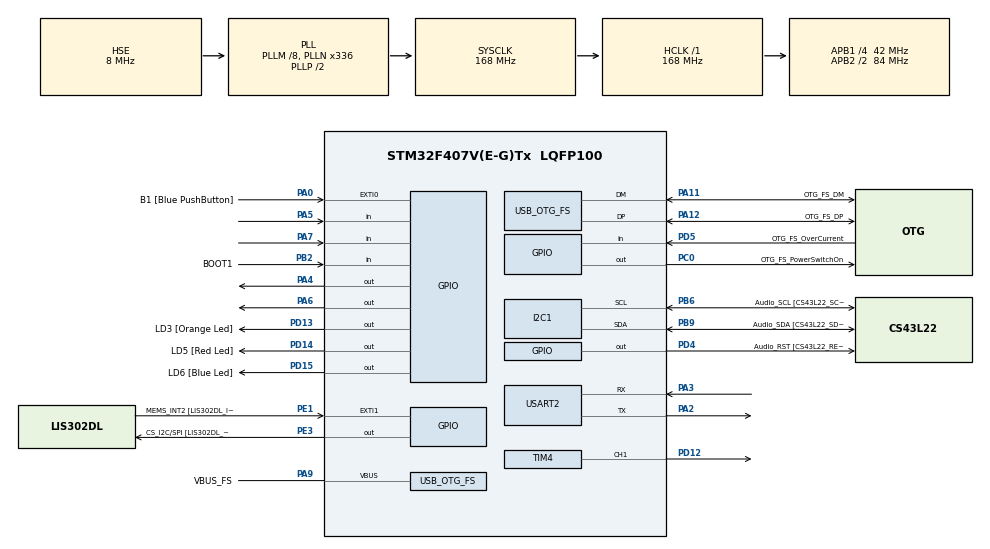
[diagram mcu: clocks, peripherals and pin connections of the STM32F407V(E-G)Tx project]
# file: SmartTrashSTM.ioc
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Mcu.Family=STM32F4
Mcu.Name=STM32F407V(E-G)Tx
Mcu.Package=LQFP100
NVIC.OTG_FS_IRQn=true\:0\:0\:false\:false\:true\:true\:true
NVIC.PriorityGroup=NVIC_PRIORITYGROUP_0
PA0-WKUP.GPIO_Label=B1 [Blue PushButton]
PA0-WKUP.GPIO_ModeDefaultEXTI=GPIO_MODE_EVT_RISING
PA0-WKUP.GPIO_PuPd=GPIO_NOPULL
PA0-WKUP.Signal=GPXTI0
PA10.GPIO_Label=OTG_FS_ID
PA10.GPIO_Mode=GPIO_MODE_AF_PP
PA10.GPIO_PuPd=GPIO_NOPULL
PA10.GPIO_Speed=GPIO_SPEED_FREQ_LOW
PA10.Signal=USB_OTG_FS_ID
PA11.GPIO_Label=OTG_FS_DM
PA11.GPIO_Mode=GPIO_MODE_AF_PP
PA11.GPIO_PuPd=GPIO_NOPULL
PA11.GPIO_Speed=GPIO_SPEED_FREQ_LOW
PA11.Mode=Host_Only
PA11.Signal=USB_OTG_FS_DM
PA12.GPIO_Label=OTG_FS_DP
PA12.GPIO_Mode=GPIO_MODE_AF_PP
PA12.GPIO_PuPd=GPIO_NOPULL
PA12.GPIO_Speed=GPIO_SPEED_FREQ_LOW
PA12.Mode=Host_Only
PA12.Signal=USB_OTG_FS_DP
PA13.GPIO_Label=SWDIO
PA13.Mode=Serial_Wire
PA13.Signal=SYS_JTMS-SWDIO
PA14.GPIO_Label=SWCLK
PA14.Mode=Serial_Wire
PA14.Signal=SYS_JTCK-SWCLK
PA2.Mode=Asynchronous
PA2.Signal=USART2_TX
PA3.Mode=Asynchronous
PA3.Signal=USART2_RX
PA4.Signal=GPIO_Output
PA5.Signal=GPIO_Input
PA6.Signal=GPIO_Output
PA7.Signal=GPIO_Input
PA9.GPIO_Label=VBUS_FS
PA9.GPIO_Mode=GPIO_MODE_INPUT
PA9.GPIO_PuPd=GPIO_NOPULL
PA9.Mode=Activate_VBUS
PA9.Signal=USB_OTG_FS_VBUS
PB10.GPIO_Label=CLK_IN [MP45DT02_CLK]
PB10.GPIO_Mode=GPIO_MODE_AF_PP
PB10.GPIO_PuPd=GPIO_NOPULL
PB10.GPIO_Speed=GPIO_SPEED_FREQ_LOW
PB10.Signal=I2S2_CK
PB2.GPIO_Label=BOOT1
PB2.GPIO_Mode=GPIO_MODE_INPUT
PB2.GPIO_PuPd=GPIO_NOPULL
PB2.Signal=GPIO_Input
PB3.GPIO_Label=SWO
PB3.Signal=SYS_JTDO-SWO
PB6.GPIO_Label=Audio_SCL [CS43L22_SCL]
PB6.GPIO_Mode=GPIO_MODE_AF_OD
PB6.GPIO_PuPd=GPIO_NOPULL
PB6.GPIO_Speed=GPIO_SPEED_FREQ_LOW
PB6.Mode=I2C
PB6.Signal=I2C1_SCL
PB9.GPIO_Label=Audio_SDA [CS43L22_SDA]
PB9.GPIO_Mode=GPIO_MODE_AF_OD
PB9.GPIO_PuPd=GPIO_NOPULL
PB9.GPIO_Speed=GPIO_SPEED_FREQ_LOW
PB9.Mode=I2C
PB9.Signal=I2C1_SDA
PC0.GPIO_Label=OTG_FS_PowerSwitchOn
PC0.GPIO_PuPd=GPIO_NOPULL
PC0.GPIO_Speed=GPIO_SPEED_FREQ_LOW
PC0.PinState=GPIO_PIN_SET
PC0.Signal=GPIO_Output
PC10.GPIO_Label=I2S3_SCK [CS43L22_SCLK]
PC10.GPIO_Mode=GPIO_MODE_AF_PP
PC10.GPIO_PuPd=GPIO_NOPULL
PC10.GPIO_Speed=GPIO_SPEED_FREQ_LOW
PC10.Signal=I2S3_CK
PC12.GPIO_Label=I2S3_SD [CS43L22_SDIN]
PC12.GPIO_Mode=GPIO_MODE_AF_PP
PC12.GPIO_PuPd=GPIO_NOPULL
PC12.GPIO_Speed=GPIO_SPEED_FREQ_LOW
PC12.Signal=I2S3_SD
PC14-OSC32_IN.GPIO_Label=PC14-OSC32_IN
PC14-OSC32_IN.Mode=LSE-External-Oscillator
PC14-OSC32_IN.Signal=RCC_OSC32_IN
PC15-OSC32_OUT.GPIO_Label=PC15-OSC32_OUT
PC15-OSC32_OUT.Mode=LSE-External-Oscillator
PC15-OSC32_OUT.Signal=RCC_OSC32_OUT
PC3.GPIO_Label=PDM_OUT [MP45DT02_DOUT]
PC3.GPIO_Mode=GPIO_MODE_AF_PP
PC3.GPIO_PuPd=GPIO_NOPULL
PC3.GPIO_Speed=GPIO_SPEED_FREQ_LOW
PC3.Signal=I2S2_SD
PC7.GPIO_Label=I2S3_MCK [CS43L22_MCLK]
PC7.GPIO_Mode=GPIO_MODE_AF_PP
PC7.GPIO_PuPd=GPIO_NOPULL
PC7.GPIO_Speed=GPIO_SPEED_FREQ_LOW
PC7.Signal=I2S3_MCK
PD12.Signal=S_TIM4_CH1
PD13.GPIO_Label=LD3 [Orange Led]
PD13.GPIO_PuPd=GPIO_NOPULL
PD13.GPIO_Speed=GPIO_SPEED_FREQ_LOW
PD13.Signal=GPIO_Output
PD14.GPIO_Label=LD5 [Red Led]
PD14.GPIO_PuPd=GPIO_NOPULL
PD14.GPIO_Speed=GPIO_SPEED_FREQ_LOW
PD14.Signal=GPIO_Output
PD15.GPIO_Label=LD6 [Blue Led]
PD15.GPIO_PuPd=GPIO_NOPULL
PD15.GPIO_Speed=GPIO_SPEED_FREQ_LOW
PD15.Signal=GPIO_Output
PD4.GPIO_Label=Audio_RST [CS43L22_RESET]
PD4.GPIO_PuPd=GPIO_NOPULL
PD4.GPIO_Speed=GPIO_SPEED_FREQ_LOW
PD4.Signal=GPIO_Output
PD5.GPIO_Label=OTG_FS_OverCurrent
PD5.GPIO_Mode=GPIO_MODE_INPUT
PD5.GPIO_PuPd=GPIO_NOPULL
PD5.Signal=GPIO_Input
PE1.GPIO_Label=MEMS_INT2 [LIS302DL_INT2]
PE1.GPIO_ModeDefaultEXTI=GPIO_MODE_EVT_RISING
PE1.GPIO_PuPd=GPIO_NOPULL
PE1.Signal=GPXTI1
PE3.GPIO_Label=CS_I2C/SPI [LIS302DL_CS_I2C/SPI]
PE3.GPIO_PuPd=GPIO_NOPULL
PE3.GPIO_Speed=GPIO_SPEED_FREQ_LOW
PE3.Signal=GPIO_Output
PH0-OSC_IN.GPIO_Label=PH0-OSC_IN
PH0-OSC_IN.Mode=HSE-External-Oscillator
PH0-OSC_IN.Signal=RCC_OSC_IN
PH1-OSC_OUT.GPIO_Label=PH1-OSC_OUT
PH1-OSC_OUT.Mode=HSE-External-Oscillator
PH1-OSC_OUT.Signal=RCC_OSC_OUT
ProjectManager.HeapSize=0x200
ProjectManager.StackSize=0x400
ProjectManager.TargetToolchain=STM32CubeIDE
RCC.48MHZClocksFreq_Value=48000000
RCC.AHBFreq_Value=168000000
RCC.APB1CLKDivider=RCC_HCLK_DIV4
RCC.APB1Freq_Value=42000000
RCC.APB1TimFreq_Value=84000000
RCC.APB2CLKDivider=RCC_HCLK_DIV2
RCC.APB2Freq_Value=84000000
RCC.APB2TimFreq_Value=168000000
RCC.CortexFreq_Value=168000000
RCC.HCLKFreq_Value=168000000
RCC.HSE_VALUE=8000000
RCC.HSI_VALUE=16000000
RCC.PLLM=8
RCC.PLLN=336
RCC.PLLQ=7
RCC.SYSCLKFreq_VALUE=168000000
RCC.SYSCLKSource=RCC_SYSCLKSOURCE_PLLCLK
RCC.VCOOutputFreq_Value=336000000
SH.S_TIM4_CH1.0=TIM4_CH1,PWM Generation1 CH1
TIM1.Period=10000
TIM1.Prescaler=83
TIM4.Channel-PWM\ Generation1\ CH1=TIM_CHANNEL_1
TIM4.Period=20000
TIM4.Prescaler=83
TIM4.Pulse-PWM\ Generation1\ CH1=1000
USART2.VirtualMode=VM_ASYNC
USB_HOST.BSP.number=1
USB_HOST.USBH_HandleTypeDef-CDC_FS=hUsbHostFS
USB_HOST.VirtualModeFS=Cdc
USB_HOST0.BSP.STBoard=false
USB_HOST0.BSP.api=Unknown
USB_HOST0.BSP.i2caddr=0
USB_HOST0.BSP.i2creg=0
USB_HOST0.BSP.instance=PC0
USB_HOST0.BSP.ip=GPIO
USB_HOST0.BSP.mode=Output
USB_HOST0.BSP.name=Drive_VBUS_FS
USB_HOST0.BSP.solution=PC0
USB_OTG_FS.VirtualMode=Host_Only
USB_OTG_FS.phy_itface=HCD_PHY_EMBEDDED
VP_TIM1_VS_ClockSourceINT.Mode=Internal
VP_USB_HOST_VS_USB_HOST_CDC_FS.Mode=CDC_FS
board=STM32F4DISCOVERY

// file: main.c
/* USER CODE BEGIN Header */
/**
  ******************************************************************************
  * @file           : main.c
  * @brief          : Main program body
  ******************************************************************************
  * @attention
  *
  * <h2><center>&copy; Copyright (c) 2019 STMicroelectronics.
  * All rights reserved.</center></h2>
  *
  * This software component is licensed by ST under Ultimate Liberty license
  * SLA0044, the "License"; You may not use this file except in compliance with
  * the License. You may obtain a copy of the License at:
  *                             www.st.com/SLA0044
  *
  ******************************************************************************
  */
/* USER CODE END Header */

#include "main.h"
#include "usb_host.h"

/* USER CODE BEGIN Includes */
#include "stm32f4xx_hal_tim.h"
/* USER CODE END Includes */

/* USER CODE BEGIN PD */
#define inner_trigger_pin 	GPIO_PIN_4 // trigger
#define inner_echo_pin 		GPIO_PIN_5 // echo
#define outer_trigger_pin 	GPIO_PIN_6 // trigger
#define outer_echo_pin 		GPIO_PIN_7 // echo

#define MAX_LID_TRIGGER_COUNTER 2
#define LID_OPEN_TH 15.0
#define LID_CLOSE_TH 20.0

// state
#define CLOSE 0
#define OPENING 1
#define OPEN 2
#define CLOSING 3
#define FOREVER_OPEN 9

#define OPEN_TICK 1000
#define CLOSE_TICK 1200

#define OPEN_ANGLE 180
#define CLOSE_ANGLE 0

#define SAMPLING_NUMBER 5

/* USER CODE END PD */

I2C_HandleTypeDef hi2c1;

TIM_HandleTypeDef htim1;
TIM_HandleTypeDef htim4;

UART_HandleTypeDef huart2;

/* USER CODE BEGIN PV */
uint8_t lid_state = 0; //0-close 1-opening 2-open 3-closing 9-forever-open
uint8_t lid_trigger_counter = MAX_LID_TRIGGER_COUNTER;
uint32_t lid_action_last_tick = 0;
/* USER CODE END PV */

void SystemClock_Config(void);
static void MX_GPIO_Init(void);
static void MX_I2C1_Init(void);
static void MX_TIM1_Init(void);
static void MX_TIM4_Init(void);
static void MX_USART2_UART_Init(void);
void MX_USB_HOST_Process(void);

/* USER CODE BEGIN 0 */

void servo_write(int degree)
{
	// can only assign 0 90 180 degree (CCW)
	int dutyCycle = 0;
	if (degree == 0) { dutyCycle = 500; }
	else if (degree == 90) { dutyCycle = 1500; }
	else if (degree == 180) { dutyCycle = 2500; }
	else { dutyCycle = 500; }
	__HAL_TIM_SetCompare(&htim4, TIM_CHANNEL_1, dutyCycle);
}

void delay (uint32_t us)
{
	__HAL_TIM_SET_COUNTER(&htim1, 0);
	while ((__HAL_TIM_GET_COUNTER(&htim1))<us);
}

uint32_t us_read (uint16_t trigger, uint16_t echo)
{
	double local_time=0;
	HAL_GPIO_WritePin(GPIOA, trigger, GPIO_PIN_RESET);  // pull the TRIG pin HIGH
	HAL_Delay(1);  // wait for 2 us

	HAL_GPIO_WritePin(GPIOA, trigger, GPIO_PIN_SET);  // pull the TRIG pin HIGH
	HAL_Delay(1);  // wait for 10 us
	HAL_GPIO_WritePin(GPIOA, trigger, GPIO_PIN_RESET);  // pull the TRIG pin low

	// read the time for which the pin is high

	while (!(HAL_GPIO_ReadPin(GPIOA, echo)));  // wait for the ECHO pin to go high
	while (HAL_GPIO_ReadPin(GPIOA, echo))    // while the pin is high
	 {
		local_time++;   // measure time for which the pin is high
		delay (2);
	 }
	HAL_Delay(1);
	return local_time;
}

double dist(int sensor_time){
	return sensor_time * 0.034;
}

double uart_send_q(double distance)
{
	char buffer[10];
	int len = sprintf(buffer, "<Q:%.2lf>", distance);
	HAL_UART_Transmit(&huart2, buffer, len, 1000);
}

double uart_send_o()
{
	HAL_UART_Transmit(&huart2, "<O>", 3, 1000);
}

double uart_send_c()
{
	HAL_UART_Transmit(&huart2, "<C>", 3, 1000);
}

void trash_measure_process()
{
	double accumulator = 0;
	for (int i=0; i<SAMPLING_NUMBER; i++)
	{
		accumulator += dist(us_read(inner_trigger_pin, inner_echo_pin));
	}
	uart_send_q(accumulator/(double)SAMPLING_NUMBER);
	return;
}

void main_process()
{
	double distance =  dist(us_read(outer_trigger_pin, outer_echo_pin));

	if ( lid_state == CLOSE )
	{
		servo_write(CLOSE_ANGLE);

		if ( distance < LID_OPEN_TH )
		{
			lid_trigger_counter--; // have to in distance for MAX_LID_TRIGGER_COUNTER time
		} else {
			lid_trigger_counter = MAX_LID_TRIGGER_COUNTER;
		}
		if (lid_trigger_counter <= 0)
		{
			// goto next state
			uart_send_o();
			lid_state = OPENING;
			lid_action_last_tick = HAL_GetTick();
		}

	} else
	if ( lid_state == OPENING )
	{
		//open until fully open
		servo_write(OPEN_ANGLE);
		if (HAL_GetTick() - lid_action_last_tick > OPEN_TICK)
		{
			// goto next state
			lid_state = OPEN;
			lid_trigger_counter = MAX_LID_TRIGGER_COUNTER;
		}

	} else
	if ( lid_state == OPEN )
	{
		servo_write(OPEN_ANGLE);

		if ( distance > LID_CLOSE_TH )
		{
			lid_trigger_counter--;
		} else {
			lid_trigger_counter = MAX_LID_TRIGGER_COUNTER;
		}

		if (lid_trigger_counter <= 0)
		{
			// goto next state
			lid_state = CLOSING;
			lid_trigger_counter = MAX_LID_TRIGGER_COUNTER;
			lid_action_last_tick = HAL_GetTick();
		}
	} else
	if ( lid_state == CLOSING )
	{
		servo_write(CLOSE_ANGLE);

		if ( distance < LID_OPEN_TH )
		{
			lid_trigger_counter--;
		} else {
			lid_trigger_counter = MAX_LID_TRIGGER_COUNTER;
		}

		if (lid_trigger_counter <= 0)
		{
			// goto next state
			lid_state = OPEN;
			lid_trigger_counter = MAX_LID_TRIGGER_COUNTER;
		}
		if (HAL_GetTick() - lid_action_last_tick < CLOSE_TICK)
		{
			// goto next state
			uart_send_c();
			trash_measure_process();
			lid_state = CLOSE;
			lid_trigger_counter = MAX_LID_TRIGGER_COUNTER;
		}

	} else
	if (lid_state == FOREVER_OPEN)
	{
		servo_write(OPEN_ANGLE);
	}

}

void check_open_forever_button_process()
{
    if (HAL_GPIO_ReadPin(GPIOA, B1_Pin))
    {
        if (lid_state != FOREVER_OPEN)
        {
        	uart_send_o();
        	lid_state = FOREVER_OPEN;
        } else {
			// goto next state
			lid_state = CLOSING;
			lid_trigger_counter = MAX_LID_TRIGGER_COUNTER;
			lid_action_last_tick = HAL_GetTick();
        }
        HAL_Delay(30);
        while (HAL_GPIO_ReadPin(GPIOA, B1_Pin))
        {
            HAL_Delay(1);
        }
        HAL_Delay(30);
    }
}
/* USER CODE END 0 */

int main(void)
{

  /* MCU Configuration--------------------------------------------------------*/

  /* Reset of all peripherals, Initializes the Flash interface and the Systick. */
  HAL_Init();

  /* Configure the system clock */
  SystemClock_Config();

  /* Initialize all configured peripherals */
  MX_GPIO_Init();
  MX_I2C1_Init();
  MX_TIM1_Init();
  MX_TIM4_Init();
  MX_USART2_UART_Init();
  MX_USB_HOST_Init();
  /* USER CODE BEGIN 2 */
  HAL_TIM_Base_Start(&htim4);
  HAL_TIM_PWM_Start(&htim4, TIM_CHANNEL_1);
  HAL_TIM_Base_Start(&htim1);

  servo_write(0);
  /* USER CODE END 2 */

  /* Infinite loop */
  while (1)
  {
    MX_USB_HOST_Process();

    /* USER CODE BEGIN 3 */
    // MAIN
    main_process();
    check_open_forever_button_process();
  }
  /* USER CODE END 3 */
}

void SystemClock_Config(void)
{
  RCC_OscInitTypeDef RCC_OscInitStruct = {0};
  RCC_ClkInitTypeDef RCC_ClkInitStruct = {0};

  /** Configure the main internal regulator output voltage
  */
  __HAL_RCC_PWR_CLK_ENABLE();
  __HAL_PWR_VOLTAGESCALING_CONFIG(PWR_REGULATOR_VOLTAGE_SCALE1);
  /** Initializes the CPU, AHB and APB busses clocks
  */
  RCC_OscInitStruct.OscillatorType = RCC_OSCILLATORTYPE_HSE;
  RCC_OscInitStruct.HSEState = RCC_HSE_ON;
  RCC_OscInitStruct.PLL.PLLState = RCC_PLL_ON;
  RCC_OscInitStruct.PLL.PLLSource = RCC_PLLSOURCE_HSE;
  RCC_OscInitStruct.PLL.PLLM = 8;
  RCC_OscInitStruct.PLL.PLLN = 336;
  RCC_OscInitStruct.PLL.PLLP = RCC_PLLP_DIV2;
  RCC_OscInitStruct.PLL.PLLQ = 7;
  if (HAL_RCC_OscConfig(&RCC_OscInitStruct) != HAL_OK)
  {
    Error_Handler();
  }
  /** Initializes the CPU, AHB and APB busses clocks
  */
  RCC_ClkInitStruct.ClockType = RCC_CLOCKTYPE_HCLK|RCC_CLOCKTYPE_SYSCLK
                              |RCC_CLOCKTYPE_PCLK1|RCC_CLOCKTYPE_PCLK2;
  RCC_ClkInitStruct.SYSCLKSource = RCC_SYSCLKSOURCE_PLLCLK;
  RCC_ClkInitStruct.AHBCLKDivider = RCC_SYSCLK_DIV1;
  RCC_ClkInitStruct.APB1CLKDivider = RCC_HCLK_DIV4;
  RCC_ClkInitStruct.APB2CLKDivider = RCC_HCLK_DIV2;

  if (HAL_RCC_ClockConfig(&RCC_ClkInitStruct, FLASH_LATENCY_5) != HAL_OK)
  {
    Error_Handler();
  }
}

static void MX_I2C1_Init(void)
{

  hi2c1.Instance = I2C1;
  hi2c1.Init.ClockSpeed = 100000;
  hi2c1.Init.DutyCycle = I2C_DUTYCYCLE_2;
  hi2c1.Init.OwnAddress1 = 0;
  hi2c1.Init.AddressingMode = I2C_ADDRESSINGMODE_7BIT;
  hi2c1.Init.DualAddressMode = I2C_DUALADDRESS_DISABLE;
  hi2c1.Init.OwnAddress2 = 0;
  hi2c1.Init.GeneralCallMode = I2C_GENERALCALL_DISABLE;
  hi2c1.Init.NoStretchMode = I2C_NOSTRETCH_DISABLE;
  if (HAL_I2C_Init(&hi2c1) != HAL_OK)
  {
    Error_Handler();
  }

}

static void MX_TIM1_Init(void)
{

  TIM_ClockConfigTypeDef sClockSourceConfig = {0};
  TIM_MasterConfigTypeDef sMasterConfig = {0};

  htim1.Instance = TIM1;
  htim1.Init.Prescaler = 83;
  htim1.Init.CounterMode = TIM_COUNTERMODE_UP;
  htim1.Init.Period = 10000;
  htim1.Init.ClockDivision = TIM_CLOCKDIVISION_DIV1;
  htim1.Init.RepetitionCounter = 0;
  htim1.Init.AutoReloadPreload = TIM_AUTORELOAD_PRELOAD_DISABLE;
  if (HAL_TIM_Base_Init(&htim1) != HAL_OK)
  {
    Error_Handler();
  }
  sClockSourceConfig.ClockSource = TIM_CLOCKSOURCE_INTERNAL;
  if (HAL_TIM_ConfigClockSource(&htim1, &sClockSourceConfig) != HAL_OK)
  {
    Error_Handler();
  }
  sMasterConfig.MasterOutputTrigger = TIM_TRGO_RESET;
  sMasterConfig.MasterSlaveMode = TIM_MASTERSLAVEMODE_DISABLE;
  if (HAL_TIMEx_MasterConfigSynchronization(&htim1, &sMasterConfig) != HAL_OK)
  {
    Error_Handler();
  }

}

static void MX_TIM4_Init(void)
{

  TIM_MasterConfigTypeDef sMasterConfig = {0};
  TIM_OC_InitTypeDef sConfigOC = {0};

  htim4.Instance = TIM4;
  htim4.Init.Prescaler = 83;
  htim4.Init.CounterMode = TIM_COUNTERMODE_UP;
  htim4.Init.Period = 20000;
  htim4.Init.ClockDivision = TIM_CLOCKDIVISION_DIV1;
  htim4.Init.AutoReloadPreload = TIM_AUTORELOAD_PRELOAD_DISABLE;
  if (HAL_TIM_PWM_Init(&htim4) != HAL_OK)
  {
    Error_Handler();
  }
  sMasterConfig.MasterOutputTrigger = TIM_TRGO_RESET;
  sMasterConfig.MasterSlaveMode = TIM_MASTERSLAVEMODE_DISABLE;
  if (HAL_TIMEx_MasterConfigSynchronization(&htim4, &sMasterConfig) != HAL_OK)
  {
    Error_Handler();
  }
  sConfigOC.OCMode = TIM_OCMODE_PWM1;
  sConfigOC.Pulse = 1000;
  sConfigOC.OCPolarity = TIM_OCPOLARITY_HIGH;
  sConfigOC.OCFastMode = TIM_OCFAST_DISABLE;
  if (HAL_TIM_PWM_ConfigChannel(&htim4, &sConfigOC, TIM_CHANNEL_1) != HAL_OK)
  {
    Error_Handler();
  }
  HAL_TIM_MspPostInit(&htim4);

}

static void MX_USART2_UART_Init(void)
{

  huart2.Instance = USART2;
  huart2.Init.BaudRate = 115200;
  huart2.Init.WordLength = UART_WORDLENGTH_8B;
  huart2.Init.StopBits = UART_STOPBITS_1;
  huart2.Init.Parity = UART_PARITY_NONE;
  huart2.Init.Mode = UART_MODE_TX_RX;
  huart2.Init.HwFlowCtl = UART_HWCONTROL_NONE;
  huart2.Init.OverSampling = UART_OVERSAMPLING_16;
  if (HAL_UART_Init(&huart2) != HAL_OK)
  {
    Error_Handler();
  }

}

static void MX_GPIO_Init(void)
{
  GPIO_InitTypeDef GPIO_InitStruct = {0};

  /* GPIO Ports Clock Enable */
  __HAL_RCC_GPIOE_CLK_ENABLE();
  __HAL_RCC_GPIOC_CLK_ENABLE();
  __HAL_RCC_GPIOH_CLK_ENABLE();
  __HAL_RCC_GPIOA_CLK_ENABLE();
  __HAL_RCC_GPIOB_CLK_ENABLE();
  __HAL_RCC_GPIOD_CLK_ENABLE();

  /*Configure GPIO pin Output Level */
  HAL_GPIO_WritePin(CS_I2C_SPI_GPIO_Port, CS_I2C_SPI_Pin, GPIO_PIN_RESET);

  /*Configure GPIO pin Output Level */
  HAL_GPIO_WritePin(OTG_FS_PowerSwitchOn_GPIO_Port, OTG_FS_PowerSwitchOn_Pin, GPIO_PIN_SET);

  /*Configure GPIO pin Output Level */
  HAL_GPIO_WritePin(GPIOA, GPIO_PIN_4|GPIO_PIN_6, GPIO_PIN_RESET);

  /*Configure GPIO pin Output Level */
  HAL_GPIO_WritePin(GPIOD, LD3_Pin|LD5_Pin|LD6_Pin|Audio_RST_Pin, GPIO_PIN_RESET);

  /*Configure GPIO pin : CS_I2C_SPI_Pin */
  GPIO_InitStruct.Pin = CS_I2C_SPI_Pin;
  GPIO_InitStruct.Mode = GPIO_MODE_OUTPUT_PP;
  GPIO_InitStruct.Pull = GPIO_NOPULL;
  GPIO_InitStruct.Speed = GPIO_SPEED_FREQ_LOW;
  HAL_GPIO_Init(CS_I2C_SPI_GPIO_Port, &GPIO_InitStruct);

  /*Configure GPIO pin : OTG_FS_PowerSwitchOn_Pin */
  GPIO_InitStruct.Pin = OTG_FS_PowerSwitchOn_Pin;
  GPIO_InitStruct.Mode = GPIO_MODE_OUTPUT_PP;
  GPIO_InitStruct.Pull = GPIO_NOPULL;
  GPIO_InitStruct.Speed = GPIO_SPEED_FREQ_LOW;
  HAL_GPIO_Init(OTG_FS_PowerSwitchOn_GPIO_Port, &GPIO_InitStruct);

  /*Configure GPIO pin : PDM_OUT_Pin */
  GPIO_InitStruct.Pin = PDM_OUT_Pin;
  GPIO_InitStruct.Mode = GPIO_MODE_AF_PP;
  GPIO_InitStruct.Pull = GPIO_NOPULL;
  GPIO_InitStruct.Speed = GPIO_SPEED_FREQ_LOW;
  GPIO_InitStruct.Alternate = GPIO_AF5_SPI2;
  HAL_GPIO_Init(PDM_OUT_GPIO_Port, &GPIO_InitStruct);

  /*Configure GPIO pin : B1_Pin */
  GPIO_InitStruct.Pin = B1_Pin;
  GPIO_InitStruct.Mode = GPIO_MODE_EVT_RISING;
  GPIO_InitStruct.Pull = GPIO_NOPULL;
  HAL_GPIO_Init(B1_GPIO_Port, &GPIO_InitStruct);

  /*Configure GPIO pins : PA4 PA6 */
  GPIO_InitStruct.Pin = GPIO_PIN_4|GPIO_PIN_6;
  GPIO_InitStruct.Mode = GPIO_MODE_OUTPUT_PP;
  GPIO_InitStruct.Pull = GPIO_NOPULL;
  GPIO_InitStruct.Speed = GPIO_SPEED_FREQ_LOW;
  HAL_GPIO_Init(GPIOA, &GPIO_InitStruct);

  /*Configure GPIO pins : PA5 PA7 */
  GPIO_InitStruct.Pin = GPIO_PIN_5|GPIO_PIN_7;
  GPIO_InitStruct.Mode = GPIO_MODE_INPUT;
  GPIO_InitStruct.Pull = GPIO_NOPULL;
  HAL_GPIO_Init(GPIOA, &GPIO_InitStruct);

  /*Configure GPIO pin : BOOT1_Pin */
  GPIO_InitStruct.Pin = BOOT1_Pin;
  GPIO_InitStruct.Mode = GPIO_MODE_INPUT;
  GPIO_InitStruct.Pull = GPIO_NOPULL;
  HAL_GPIO_Init(BOOT1_GPIO_Port, &GPIO_InitStruct);

  /*Configure GPIO pin : CLK_IN_Pin */
  GPIO_InitStruct.Pin = CLK_IN_Pin;
  GPIO_InitStruct.Mode = GPIO_MODE_AF_PP;
  GPIO_InitStruct.Pull = GPIO_NOPULL;
  GPIO_InitStruct.Speed = GPIO_SPEED_FREQ_LOW;
  GPIO_InitStruct.Alternate = GPIO_AF5_SPI2;
  HAL_GPIO_Init(CLK_IN_GPIO_Port, &GPIO_InitStruct);

  /*Configure GPIO pins : LD3_Pin LD5_Pin LD6_Pin Audio_RST_Pin */
  GPIO_InitStruct.Pin = LD3_Pin|LD5_Pin|LD6_Pin|Audio_RST_Pin;
  GPIO_InitStruct.Mode = GPIO_MODE_OUTPUT_PP;
  GPIO_InitStruct.Pull = GPIO_NOPULL;
  GPIO_InitStruct.Speed = GPIO_SPEED_FREQ_LOW;
  HAL_GPIO_Init(GPIOD, &GPIO_InitStruct);

  /*Configure GPIO pins : I2S3_MCK_Pin I2S3_SCK_Pin I2S3_SD_Pin */
  GPIO_InitStruct.Pin = I2S3_MCK_Pin|I2S3_SCK_Pin|I2S3_SD_Pin;
  GPIO_InitStruct.Mode = GPIO_MODE_AF_PP;
  GPIO_InitStruct.Pull = GPIO_NOPULL;
  GPIO_InitStruct.Speed = GPIO_SPEED_FREQ_LOW;
  GPIO_InitStruct.Alternate = GPIO_AF6_SPI3;
  HAL_GPIO_Init(GPIOC, &GPIO_InitStruct);

  /*Configure GPIO pin : OTG_FS_OverCurrent_Pin */
  GPIO_InitStruct.Pin = OTG_FS_OverCurrent_Pin;
  GPIO_InitStruct.Mode = GPIO_MODE_INPUT;
  GPIO_InitStruct.Pull = GPIO_NOPULL;
  HAL_GPIO_Init(OTG_FS_OverCurrent_GPIO_Port, &GPIO_InitStruct);

  /*Configure GPIO pin : MEMS_INT2_Pin */
  GPIO_InitStruct.Pin = MEMS_INT2_Pin;
  GPIO_InitStruct.Mode = GPIO_MODE_EVT_RISING;
  GPIO_InitStruct.Pull = GPIO_NOPULL;
  HAL_GPIO_Init(MEMS_INT2_GPIO_Port, &GPIO_InitStruct);

}

void Error_Handler(void)
{
}

/************************ (C) COPYRIGHT STMicroelectronics *****END OF FILE****/
